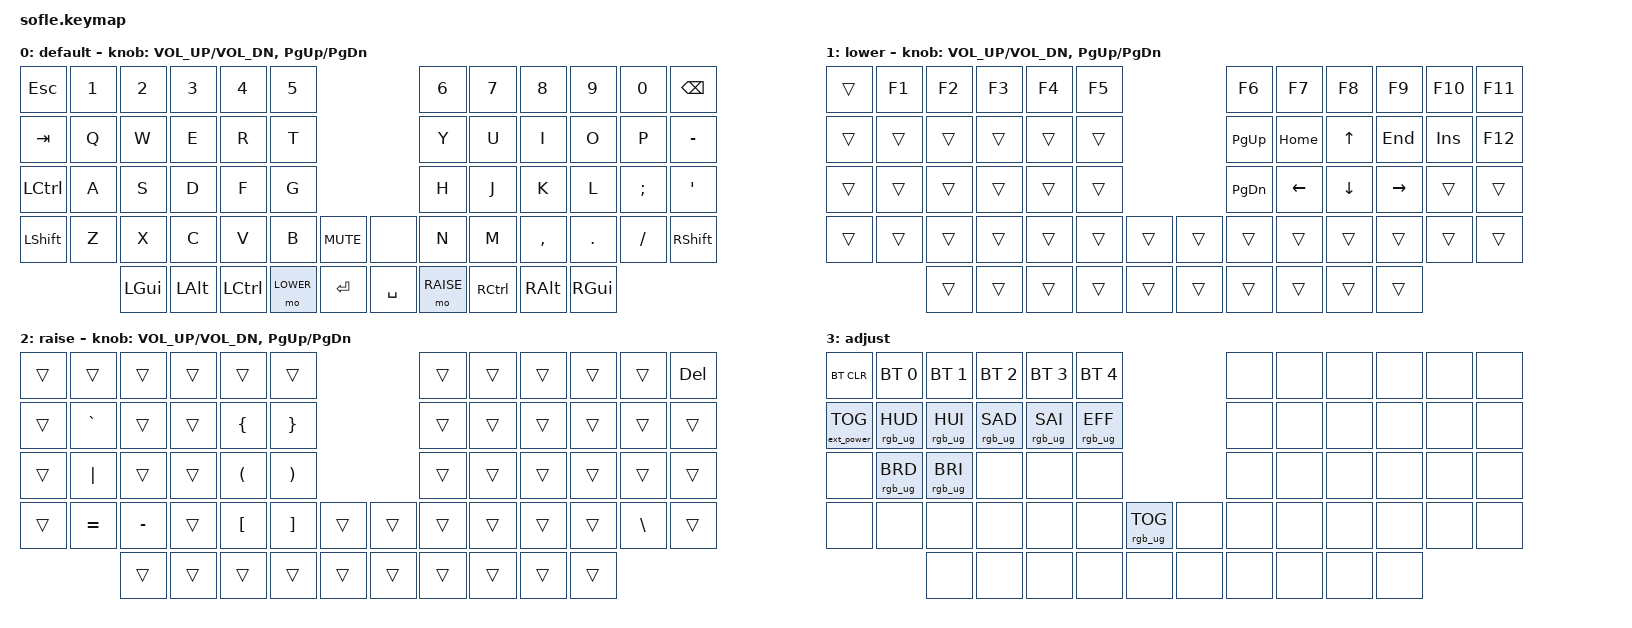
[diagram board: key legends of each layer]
/*
 * Copyright (c) 2020 The ZMK Contributors
 *
 * SPDX-License-Identifier: MIT
 */

#include <behaviors.dtsi>
#include <dt-bindings/zmk/keys.h>
#include <dt-bindings/zmk/bt.h>
#include <dt-bindings/zmk/rgb.h>
#include <dt-bindings/zmk/ext_power.h>

#define BASE 0
#define LOWER 1
#define RAISE 2
#define ADJUST 3

/ {

   // Activate ADJUST layer by pressing raise and lower
    conditional_layers {
        compatible = "zmk,conditional-layers";
        adjust_layer {
            if-layers = <LOWER RAISE>;
            then-layer = <ADJUST>;
        };
    };

    keymap {
        compatible = "zmk,keymap";

        default_layer {
            display-name = "default";
// ------------------------------------------------------------------------------------------------------------
// |   `   |  1  |  2  |  3   |  4   |  5   |                   |  6   |  7    |  8    |  9   |   0   |       |
// |  ESC  |  Q  |  W  |  E   |  R   |  T   |                   |  Y   |  U    |  I    |  O   |   P   | BKSPC |
// |  TAB  |  A  |  S  |  D   |  F   |  G   |                   |  H   |  J    |  K    |  L   |   ;   |   '   |
// | SHIFT |  Z  |  X  |  C   |  V   |  B   |  MUTE  |  |       |  N   |  M    |  ,    |  .   |   /   | SHIFT |
//               | GUI | ALT  | CTRL | LOWER|  ENTER |  | SPACE | RAISE| CTRL  | ALT   | GUI  |
//             bindings = <
// &kp GRAVE &kp N1 &kp N2   &kp N3   &kp N4    &kp N5                           &kp N6 &kp N7    &kp N8    &kp N9   &kp N0   &none
// &kp ESC   &kp Q  &kp W    &kp E    &kp R     &kp T                            &kp Y  &kp U     &kp I     &kp O    &kp P    &kp BSPC
// &kp TAB   &kp A  &kp S    &kp D    &kp F     &kp G                            &kp H  &kp J     &kp K     &kp L    &kp SEMI &kp SQT
// &kp LSHFT &kp Z  &kp X    &kp C    &kp V     &kp B      &kp C_MUTE &none      &kp N  &kp M     &kp COMMA &kp DOT  &kp FSLH &kp RSHFT
//                  &kp LGUI &kp LALT &kp LCTRL &mo LOWER  &kp RET    &kp SPACE  &mo RAISE  &kp RCTRL &kp RALT  &kp RGUI
//             >;

// ------------------------------------------------------------------------------------------------------------
// |  ESC  |  1  |  2  |  3   |  4   |  5   |                   |  6   |  7    |  8    |  9   |   0   | BKSPC |
// |  TAB  |  Q  |  W  |  E   |  R   |  T   |                   |  Y   |  U    |  I    |  O   |   P   |   -   |
// | CTRL  |  A  |  S  |  D   |  F   |  G   |                   |  H   |  J    |  K    |  L   |   ;   |   '   |
// | SHIFT |  Z  |  X  |  C   |  V   |  B   |  MUTE  |  |       |  N   |  M    |  ,    |  .   |   /   | SHIFT |
//               | GUI | ALT  | CTRL | LOWER|  ENTER |  | SPACE | RAISE| CTRL  | ALT   | GUI  |
            bindings = <
&kp ESC   &kp N1 &kp N2   &kp N3   &kp N4    &kp N5                           &kp N6 &kp N7    &kp N8    &kp N9   &kp N0   &kp BSPC
&kp TAB   &kp Q  &kp W    &kp E    &kp R     &kp T                            &kp Y  &kp U     &kp I     &kp O    &kp P    &kp MINUS
&kp LCTRL &kp A  &kp S    &kp D    &kp F     &kp G                            &kp H  &kp J     &kp K     &kp L    &kp SEMI &kp SQT
&kp LSHFT &kp Z  &kp X    &kp C    &kp V     &kp B      &kp C_MUTE &none      &kp N  &kp M     &kp COMMA &kp DOT  &kp FSLH &kp RSHFT
                 &kp LGUI &kp LALT &kp LCTRL &mo LOWER  &kp RET    &kp SPACE  &mo RAISE  &kp RCTRL &kp RALT  &kp RGUI
            >;

            sensor-bindings = <&inc_dec_kp C_VOL_UP C_VOL_DN &inc_dec_kp PG_UP PG_DN>;
        };

        lower_layer {
            display-name = "lower";
// TODO: Some binds are waiting for shifted keycode support.
// ------------------------------------------------------------------------------------------------------------
// |       |  F1 |  F2 |  F3  |  F4  |  F5  |                   |  F6  |  F7   |  F8   |  F9  |  F10  |  F11  |
// |   `   |  1  |  2  |  3   |  4   |  5   |                   |  6   |  7    |  8    |  9   |   0   |  F12  |
// |       |  !  |  @  |  #   |  $   |  %   |                   |  ^   |  &    |  *    |  (   |   )   |   |   |
// |       |  =  |  -  |  +   |  {   |  }   |        |  |       |  [   |  ]    |  ;    |  :   |   \   |       |
//               |     |      |      |      |        |  |       |      |       |       |      |
//             bindings = <
// &trans    &kp F1    &kp F2    &kp F3      &kp F4    &kp F5                    &kp F6    &kp F7   &kp F8          &kp F9    &kp F10   &kp F11
// &kp GRAVE &kp N1    &kp N2    &kp N3      &kp N4    &kp N5                    &kp N6    &kp N7   &kp N8          &kp N9    &kp N0    &kp F12
// &trans    &kp EXCL  &kp AT    &kp HASH    &kp DLLR  &kp PRCNT                 &kp CARET &kp AMPS &kp KP_MULTIPLY &kp LPAR  &kp RPAR  &kp PIPE
// &trans    &kp EQUAL &kp MINUS &kp KP_PLUS &kp LBRC  &kp RBRC   &trans &trans  &kp LBKT  &kp RBKT &kp SEMI        &kp COLON &kp BSLH  &trans
//                     &trans    &trans      &trans    &trans     &trans &trans  &trans    &trans   &trans          &trans
//             >;
// ------------------------------------------------------------------------------------------------------------
// |       |  F1 |  F2  |  F3  |  F4  |  F5  |                   |  F6  |  F7   |  F8   |  F9  |  F10  |  F11  |
// |   `   |     | MSB1 | XMSU | MSB2 | MSWU |                   | PGUP | HOME  |  UP   | END  |  INS  |  F12  |
// |       |     | XMSL | XMSD | XMSR | MSWD |                   | PGDN | LEFT  | DOWN  | RGHT |       |       |
// |       |     |      | MSB3 |      |      |        |  |       |      |       |       |      |       |       |
//               |      |      |      |      |        |  |       |      |       |       |      |
            bindings = <
&trans    &kp F1    &kp F2    &kp F3      &kp F4    &kp F5                    &kp F6    &kp F7   &kp F8     &kp F9    &kp F10   &kp F11
&trans    &trans    &trans    &trans      &trans    &trans                    &kp PG_UP &kp HOME &kp UP     &kp END   &kp INS   &kp F12
&trans    &trans    &trans    &trans      &trans    &trans                    &kp PG_DN &kp LEFT &kp DOWN   &kp RIGHT &trans    &trans
&trans    &trans    &trans    &trans      &trans    &trans     &trans &trans  &trans    &trans   &trans     &trans    &trans    &trans
                    &trans    &trans      &trans    &trans     &trans &trans  &trans    &trans   &trans     &trans
            >;

            sensor-bindings = <&inc_dec_kp C_VOL_UP C_VOL_DN &inc_dec_kp PG_UP PG_DN>;
        };

        raise_layer {
            display-name = "raise";
// ------------------------------------------------------------------------------------------------------------
// | BTCLR | BT1  | BT2  |  BT3  |  BT4  |  BT5 |                |      |      |       |      |       |       |
// |       | INS  | PSCR | GUI   |       |      |                | PGUP |      |   ^   |      |       |       |
// |       | ALT  | CTRL | SHIFT |       | CAPS |                | PGDN |   <- |   v   |  ->  |  DEL  | BKSPC |
// |       | UNDO | CUT  | COPY  | PASTE |      |      |  |      |      |      |       |      |       |       |
//                |      |       |       |      |      |  |      |      |      |       |      |
//             bindings = <
// &bt BT_CLR &bt BT_SEL 0 &bt BT_SEL 1 &bt BT_SEL 2 &bt BT_SEL 3 &bt BT_SEL 4                  &trans    &trans    &trans   &trans    &trans  &trans
// &trans     &kp INS      &kp PSCRN    &kp K_CMENU  &trans       &trans                        &kp PG_UP &trans    &kp UP   &trans    &kp N0  &trans
// &trans     &kp LALT     &kp LCTRL    &kp LSHFT    &trans       &kp CLCK                      &kp PG_DN &kp LEFT  &kp DOWN &kp RIGHT &kp DEL &kp BSPC
// &trans     &kp K_UNDO   &kp K_CUT    &kp K_COPY   &kp K_PASTE  &trans        &trans  &trans  &trans    &trans    &trans   &trans    &trans  &trans
//                         &trans       &trans       &trans       &trans        &trans  &trans  &trans    &trans    &trans   &trans
//             >;
// ------------------------------------------------------------------------------------------------------------
// |       |      |      |       |       |      |                |      |      |       |      |       |  DEL  |
// |       |GRAVE |      |       | LBRC  | RBRC |                |      |      |       |      |       |       |
// |       | PIPE |      |       | LPAR  | RPAR |                |      |      |       |      |       |       |
// |       |EQUAL |MINUS |       | LBKT  | RBKT |      |  |      |      |      |       |      | BSLH  |       |
//                |      |       |       |      |      |  |      |      |      |       |      |
            bindings = <
&trans     &trans       &trans       &trans       &trans       &trans                      &trans    &trans    &trans   &trans    &trans   &kp DEL
&trans     &kp GRAVE    &trans       &trans       &kp LBRC     &kp RBRC                    &trans    &trans    &trans   &trans    &trans   &trans
&trans     &kp PIPE     &trans       &trans       &kp LPAR     &kp RPAR                    &trans    &trans    &trans   &trans    &trans   &trans
&trans     &kp EQUAL    &kp MINUS    &trans       &kp LBKT     &kp RBKT    &trans  &trans  &trans    &trans    &trans   &trans    &kp BSLH &trans
                        &trans       &trans       &trans       &trans      &trans  &trans  &trans    &trans    &trans   &trans
            >;

            sensor-bindings = <&inc_dec_kp C_VOL_UP C_VOL_DN &inc_dec_kp PG_UP PG_DN>;
        };

        adjust_layer {
// ----------------------------------------------------------------------------------------------------------------------------
// | BTCLR  |  BT1    |  BT2    |   BT3   |   BT4   |   BT5   |                  |      |      |       |      |       |       |
// | EXTPWR | RGB_HUD | RGB_HUI | RGB_SAD | RGB_SAI | RGB_EFF |                  |      |      |       |      |       |       |
// |        | RGB_BRD | RGB_BRI |         |         |         |                  |      |      |       |      |       |       |
// |        |         |         |         |         |         | RGB_TOG | |      |      |      |       |      |       |       |
//                    |         |         |         |         |         | |      |      |      |       |      |
            display-name = "adjust";
            bindings = <
&bt BT_CLR        &bt BT_SEL 0    &bt BT_SEL 1    &bt BT_SEL 2    &bt BT_SEL 3    &bt BT_SEL 4                            &none &none &none &none &none &none
&ext_power EP_TOG &rgb_ug RGB_HUD &rgb_ug RGB_HUI &rgb_ug RGB_SAD &rgb_ug RGB_SAI &rgb_ug RGB_EFF                         &none &none &none &none &none &none
&none             &rgb_ug RGB_BRD &rgb_ug RGB_BRI &none           &none           &none                                   &none &none &none &none &none &none
&none             &none           &none           &none           &none           &none            &rgb_ug RGB_TOG &none  &none &none &none &none &none &none
                                  &none           &none           &none           &none            &none           &none  &none &none &none &none
            >;
        };

    };
};
